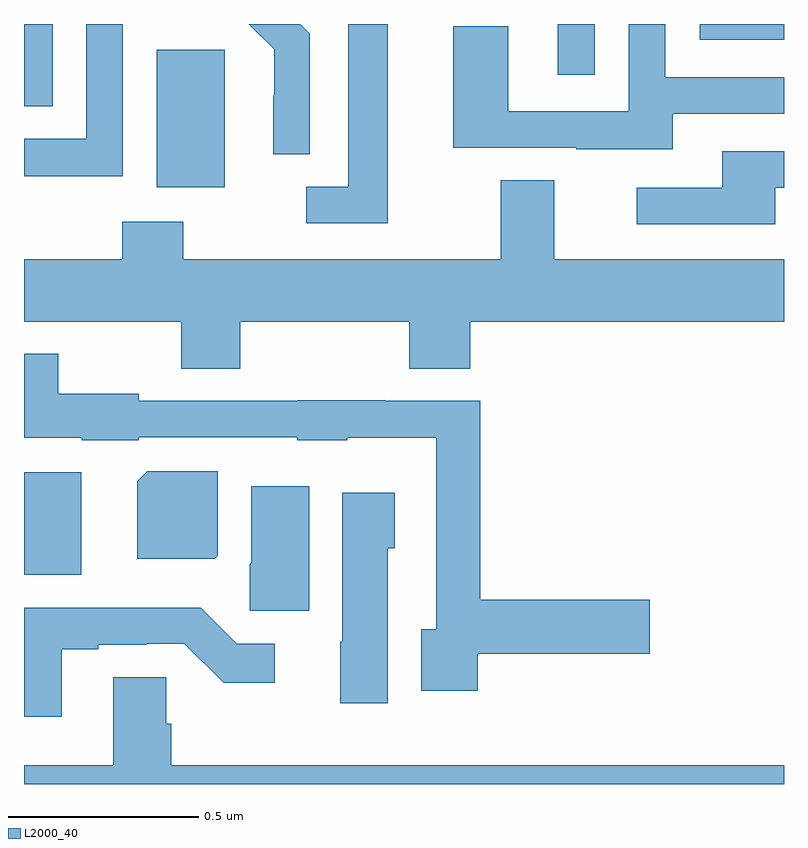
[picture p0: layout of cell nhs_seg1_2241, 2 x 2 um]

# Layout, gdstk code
import gdstk
lib = gdstk.Library(unit=1e-6, precision=1e-09)
def R(c, l, rs):  # rectangles x0, y0, x1, y1
    for r in rs: c.add(gdstk.rectangle(r[:2], r[2:], *l))
def P(c, l, *ps):  # polygons
    for p in ps: c.add(gdstk.Polygon(p, *l))
L2000_40 = (2000, 40)

nhs_seg1_2241 = lib.new_cell('nhs_seg1_2241')
R(nhs_seg1_2241, L2000_40, [(139,533.75,139.15,534.02), (139.349,534.77,139.528,535.131), (139,534.982,139.075,535.199), (140.405,535.065,140.502,535.199), (140.778,535.158,141,535.199)])
P(nhs_seg1_2241, L2000_40, [(140.707,534.963),(141,534.963),(141,535.059),(140.688,535.059),(140.688,535.199),(140.592,535.199),(140.592,534.969),(140.274,534.969),(140.274,535.193),(140.129,535.193),(140.129,534.873),(140.453,534.873),(140.453,534.869),(140.707,534.869)],
  [(139.957,535.199),(139.853,535.199),(139.853,534.771),(139.743,534.771),(139.743,534.675),(139.957,534.675)],
  [(139.752,535.174),(139.727,535.199),(139.591,535.199),(139.658,535.133),(139.658,535.01),(139.656,535.01),(139.656,534.856),(139.752,534.856)],
  [(139.26,535.199),(139.164,535.199),(139.164,534.897),(139,534.897),(139,534.799),(139.26,534.799)],
  [(140.977,534.768),(141,534.768),(141,534.864),(140.837,534.864),(140.837,534.768),(140.613,534.768),(140.613,534.672),(140.977,534.672)],
  [(139.569,534.416),(140.014,534.416),(140.014,534.292),(140.174,534.292),(140.174,534.416),(141,534.416),(141,534.58),(140.395,534.58),(140.395,534.788),(140.255,534.788),(140.255,534.58),(139.419,534.58),(139.419,534.679),(139.259,534.679),(139.259,534.58),(139,534.58),(139,534.416),(139.414,534.416),(139.414,534.292),(139.569,534.292)],
  [(140.194,533.542),(140.647,533.542),(140.647,533.684),(140.201,533.684),(140.201,534.207),(139.951,534.207),(139.951,534.209),(139.719,534.209),(139.719,534.207),(139.302,534.207),(139.302,534.226),(139.09,534.226),(139.09,534.331),(139,534.331),(139,534.11),(139.152,534.11),(139.152,534.104),(139.302,534.104),(139.302,534.111),(139.719,534.111),(139.719,534.104),(139.851,534.104),(139.851,534.11),(140.085,534.11),(140.085,533.606),(140.045,533.606),(140.045,533.445),(140.194,533.445)],
  [(139.51,533.8),(139.51,534.022),(139.324,534.022),(139.298,533.996),(139.298,533.792),(139.502,533.792)],
  [(139.75,533.983),(139.598,533.983),(139.598,533.778),(139.594,533.778),(139.594,533.655),(139.75,533.655)],
  [(139.957,533.82),(139.975,533.82),(139.975,533.965),(139.838,533.965),(139.838,533.574),(139.832,533.574),(139.832,533.412),(139.957,533.412)],
  [(139.099,533.553),(139.195,533.553),(139.195,533.565),(139.322,533.565),(139.322,533.568),(139.422,533.568),(139.525,533.466),(139.66,533.466),(139.66,533.568),(139.56,533.568),(139.465,533.663),(139,533.663),(139,533.376),(139.099,533.376)],
  [(141,533.248),(139.388,533.248),(139.388,533.358),(139.374,533.358),(139.374,533.48),(139.235,533.48),(139.235,533.248),(139,533.248),(139,533.199),(141,533.199)])

lib.write_gds('nhs_seg1_2241.gds')
